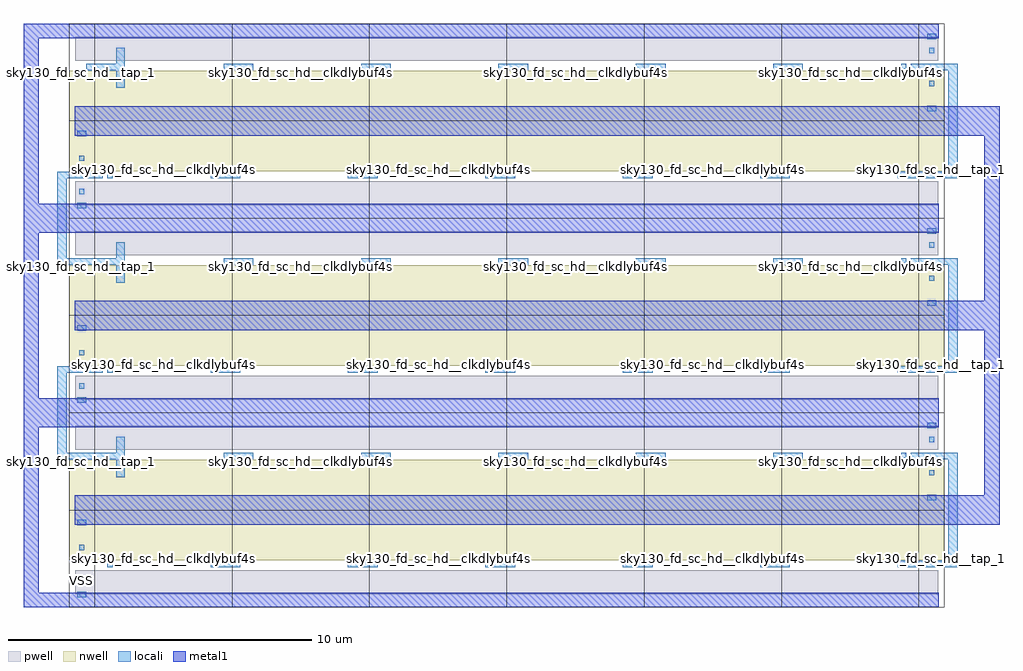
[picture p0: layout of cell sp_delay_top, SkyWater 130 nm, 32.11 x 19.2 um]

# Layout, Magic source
magic
tech sky130A
magscale 1 2
<< locali >>
rect 413 3535 665 3577
rect 223 2823 523 2865
rect 223 2297 283 2823
rect 223 2255 523 2297
rect 223 1543 523 1585
rect 223 1017 283 1543
rect 223 975 523 1017
rect 367 377 401 411
rect 552 263 586 297
rect 367 159 401 193
<< metal1 >>
rect 6022 3104 6422 3296
rect 6322 2016 6422 3104
rect 6022 1824 6422 2016
rect 6322 736 6422 1824
rect 6022 544 6422 736
use sp_delay2x  sp_delay2x_0
transform 1 0 300 0 1 0
box -300 0 5846 1280
use sp_delay2x  sp_delay2x_1
transform 1 0 300 0 1 1280
box -300 0 5846 1280
use sp_delay2x  sp_delay2x_2
transform 1 0 300 0 1 2560
box -300 0 5846 1280
<< labels >>
rlabel locali 367 377 401 411 5 VCC
port 1 s
rlabel locali 367 159 401 193 5 VSS
port 2 s
rlabel locali 552 263 586 297 5 VIN
port 3 s
rlabel locali 413 3535 665 3577 5 VOUT
port 4 s
<< end >>

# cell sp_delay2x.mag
magic
tech sky130A
magscale 1 2
<< nwell >>
rect 0 309 5760 971
<< locali >>
rect 309 857 365 1121
rect 5537 975 5846 1017
rect 67 377 101 411
rect 5786 305 5846 975
rect 252 263 286 297
rect 5647 263 5846 305
rect 67 159 101 193
<< metal1 >>
rect -300 1184 38 1280
rect -300 96 -200 1184
rect -300 0 38 96
use sp_delay  sp_delay_0
transform 1 0 38 0 1 48
box -38 -48 5722 592
use sp_delay_rot  sp_delay_rot_0
transform 1 0 38 0 1 688
box -38 -48 5722 592
<< labels >>
rlabel locali 67 377 101 411 5 VCC
port 1 s
rlabel locali 67 159 101 193 5 VSS
port 2 s
rlabel locali 252 263 286 297 5 VIN
port 3 s
rlabel locali 309 857 365 1121 5 VOUT
port 4 s
<< end >>

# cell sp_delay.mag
magic
tech sky130A
magscale 1 2
<< pwell >>
rect 3 38 5681 195
<< locali >>
rect 17 491 75 527
rect 893 215 1089 257
rect 1797 215 1993 257
rect 2701 215 2897 257
rect 3605 215 3801 257
rect 4509 215 4705 257
rect 5413 215 5609 257
rect 17 17 75 53
<< metal1 >>
rect 0 496 5684 592
rect 0 -48 5684 48
use sky130_fd_sc_hd__clkdlybuf4s50_2  sky130_fd_sc_hd__clkdlybuf4s50_2_0 $PDKPATH/libs.ref/sky130_fd_sc_hd/mag
transform 1 0 168 0 1 0
box -38 -48 866 592
use sky130_fd_sc_hd__clkdlybuf4s50_2  sky130_fd_sc_hd__clkdlybuf4s50_2_1
transform 1 0 1072 0 1 0
box -38 -48 866 592
use sky130_fd_sc_hd__clkdlybuf4s50_2  sky130_fd_sc_hd__clkdlybuf4s50_2_2
transform 1 0 1976 0 1 0
box -38 -48 866 592
use sky130_fd_sc_hd__clkdlybuf4s50_2  sky130_fd_sc_hd__clkdlybuf4s50_2_3
transform 1 0 2880 0 1 0
box -38 -48 866 592
use sky130_fd_sc_hd__clkdlybuf4s50_2  sky130_fd_sc_hd__clkdlybuf4s50_2_4
transform 1 0 3784 0 1 0
box -38 -48 866 592
use sky130_fd_sc_hd__clkdlybuf4s50_2  sky130_fd_sc_hd__clkdlybuf4s50_2_5
transform 1 0 4688 0 1 0
box -38 -48 866 592
use sky130_fd_sc_hd__tap_1  sky130_fd_sc_hd__tap_1_0 $PDKPATH/libs.ref/sky130_fd_sc_hd/mag
transform 1 0 0 0 1 0
box -38 -48 130 592
use sky130_fd_sc_hd__tap_1  sky130_fd_sc_hd__tap_1_1
transform 1 0 5592 0 1 0
box -38 -48 130 592
<< end >>

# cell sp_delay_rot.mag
magic
tech sky130A
magscale 1 2
<< pwell >>
rect 3 349 5681 506
<< locali >>
rect 5609 491 5667 527
rect 271 329 327 433
rect 5621 399 5655 433
rect 75 287 327 329
rect 979 287 1175 329
rect 1883 287 2079 329
rect 2787 287 2983 329
rect 3691 287 3887 329
rect 4595 287 4791 329
rect 5436 295 5470 329
rect 271 169 327 287
rect 5621 181 5655 215
rect 5609 17 5667 53
<< metal1 >>
rect 0 496 5684 592
rect 0 -48 5684 48
use sky130_fd_sc_hd__clkdlybuf4s50_2  sky130_fd_sc_hd__clkdlybuf4s50_2_0 $PDKPATH/libs.ref/sky130_fd_sc_hd/mag
transform -1 0 5516 0 -1 544
box -38 -48 866 592
use sky130_fd_sc_hd__clkdlybuf4s50_2  sky130_fd_sc_hd__clkdlybuf4s50_2_1
transform -1 0 4612 0 -1 544
box -38 -48 866 592
use sky130_fd_sc_hd__clkdlybuf4s50_2  sky130_fd_sc_hd__clkdlybuf4s50_2_2
transform -1 0 3708 0 -1 544
box -38 -48 866 592
use sky130_fd_sc_hd__clkdlybuf4s50_2  sky130_fd_sc_hd__clkdlybuf4s50_2_3
transform -1 0 2804 0 -1 544
box -38 -48 866 592
use sky130_fd_sc_hd__clkdlybuf4s50_2  sky130_fd_sc_hd__clkdlybuf4s50_2_4
transform -1 0 1900 0 -1 544
box -38 -48 866 592
use sky130_fd_sc_hd__clkdlybuf4s50_2  sky130_fd_sc_hd__clkdlybuf4s50_2_5
transform -1 0 996 0 -1 544
box -38 -48 866 592
use sky130_fd_sc_hd__tap_1  sky130_fd_sc_hd__tap_1_0 $PDKPATH/libs.ref/sky130_fd_sc_hd/mag
transform -1 0 5684 0 -1 544
box -38 -48 130 592
use sky130_fd_sc_hd__tap_1  sky130_fd_sc_hd__tap_1_1
transform -1 0 92 0 -1 544
box -38 -48 130 592
<< labels >>
rlabel locali 5621 181 5655 215 1 VCC
port 1 s
rlabel locali 5621 399 5655 433 1 VSS
port 2 s
rlabel locali 5436 295 5470 329 1 VIN
port 3 s
rlabel locali 271 169 327 433 1 VOUT
port 4 s
<< end >>
